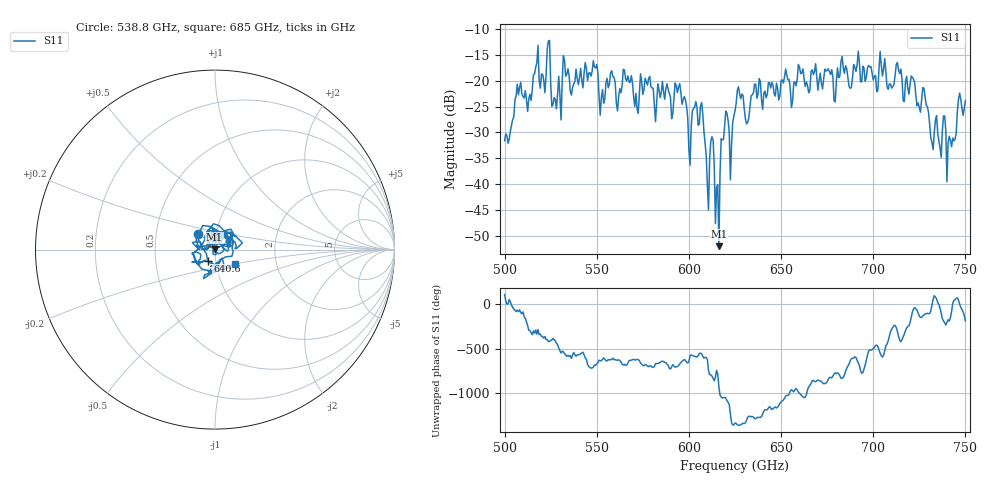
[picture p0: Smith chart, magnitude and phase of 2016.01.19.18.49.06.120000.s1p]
!Created with skrf (http://scikit-rf.org).
# GHz S RI R 50.0
!freq ReS11 ImS11
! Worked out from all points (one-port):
!   401 points, 500 GHz to 750 GHz, reference 50 ohm
!   lowest |S11| = -52.0 dB at 616.2 GHz (marker M1), VSWR 1.01, Z = 49.8 + j0.111 ohm
!   |S11| at or under -10 dB: start of sweep to end of sweep
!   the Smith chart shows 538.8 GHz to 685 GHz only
!   S11 on the Smith chart (normalised r, x): 538.8 GHz: 0.82, +0.15; 640.6 GHz: 0.91, -0.12; 685 GHz: 1.24, -0.21
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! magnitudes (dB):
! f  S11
! 500 GHz  -31.6
! 507.5 GHz  -22.7
! 513.8 GHz  -22.6
! 516.9 GHz  -17.3
! 520.6 GHz  -18.7
! 523.8 GHz  -12.2
! 526.9 GHz  -23.2
! 531.2 GHz  -20.1
! 538.8 GHz  -17.7
! 562.5 GHz  -21.5
! 593.8 GHz  -22.3
! 600 GHz  -33.5
! 606.9 GHz  -24.2
! 610 GHz  -40.2
! 612.5 GHz  -30.8
! 615 GHz  -40.7
! 616.2 GHz  -52.0
! 618.8 GHz  -31.4
! 623.1 GHz  -32.5
! 625 GHz  -25.8
! 640.6 GHz  -22.4
! 656.2 GHz  -23.9
! 685 GHz  -17.1
! 687.5 GHz  -21.5
! 705 GHz  -19.0
! 718.8 GHz  -21.5
! 741.2 GHz  -30.7
! 750 GHz  -23.9
